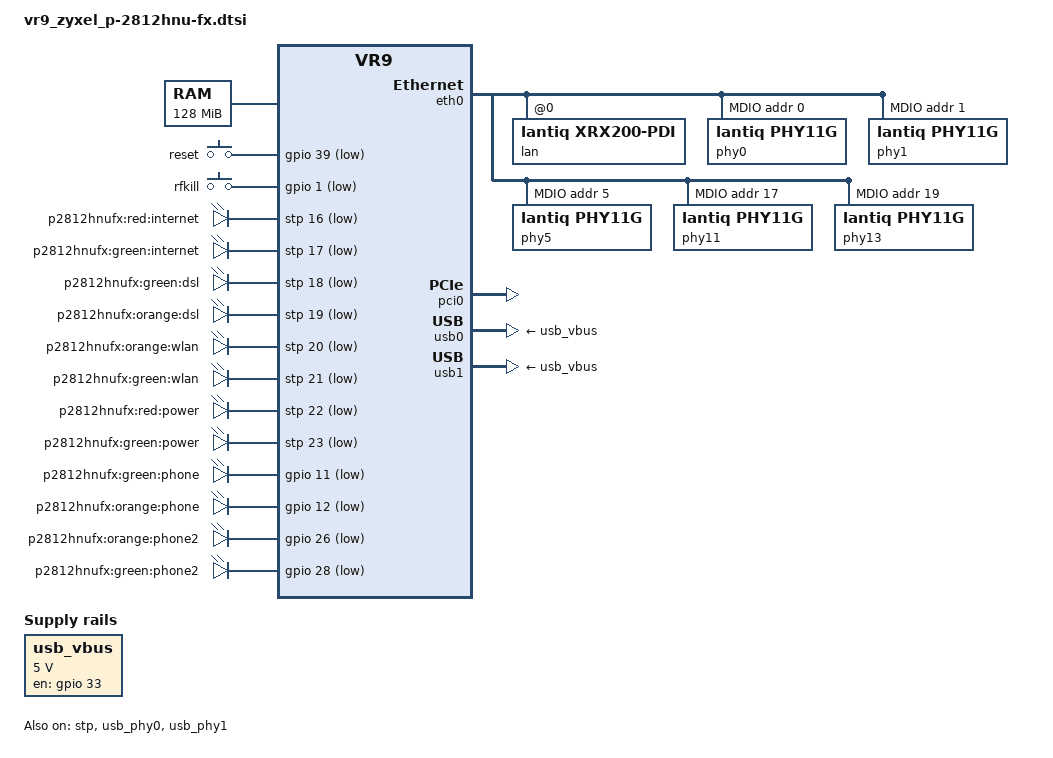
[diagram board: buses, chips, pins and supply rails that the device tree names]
#include "vr9.dtsi"

#include <dt-bindings/input/input.h>
#include <dt-bindings/mips/lantiq_rcu_gphy.h>

/ {
	compatible = "zyxel,p-2812hnu", "lantiq,xway", "lantiq,vr9";

	chosen {
		bootargs = "console=ttyLTQ0,115200";
	};

	aliases {
		led-boot = &power_green;
		led-failsafe = &power_red;
		led-running = &power_green;
		led-upgrade = &power_green;

		led-dsl = &dsl_green;
		led-internet = &internet_green;
		led-wifi = &wireless_green;
	};

	memory@0 {
		device_type = "memory";
		reg = <0x0 0x8000000>;
	};

	keys {
		compatible = "gpio-keys-polled";
		poll-interval = <100>;

		reset {
			label = "reset";
			gpios = <&gpio 39 GPIO_ACTIVE_LOW>;
			linux,code = <KEY_RESTART>;
		};

		rfkill {
			label = "rfkill";
			gpios = <&gpio 1 GPIO_ACTIVE_LOW>;
			linux,code = <KEY_RFKILL>;
		};
	};

	leds {
		compatible = "gpio-leds";

		internet_red {
			label = "p2812hnufx:red:internet";
			gpios = <&stp 16 GPIO_ACTIVE_LOW>;
		};
		internet_green: internet_green {
			label = "p2812hnufx:green:internet";
			gpios = <&stp 17 GPIO_ACTIVE_LOW>;
		};
		dsl_green: dsl_green {
			label = "p2812hnufx:green:dsl";
			gpios = <&stp 18 GPIO_ACTIVE_LOW>;
		};
		dsl_orange {
			label = "p2812hnufx:orange:dsl";
			gpios = <&stp 19 GPIO_ACTIVE_LOW>;
		};
		wireless_orange {
			label = "p2812hnufx:orange:wlan";
			gpios = <&stp 20 GPIO_ACTIVE_LOW>;
		};
		wireless_green: wireless_green {
			label = "p2812hnufx:green:wlan";
			gpios = <&stp 21 GPIO_ACTIVE_LOW>;
		};
		power_red: power {
			label = "p2812hnufx:red:power";
			gpios = <&stp 22 GPIO_ACTIVE_LOW>;
		};
		power_green: power2 {
			label = "p2812hnufx:green:power";
			gpios = <&stp 23 GPIO_ACTIVE_LOW>;
			default-state = "keep";
		};
		phone1 {
			label = "p2812hnufx:green:phone";
			gpios = <&gpio 11 GPIO_ACTIVE_LOW>;
		};
		phone1warn {
			label = "p2812hnufx:orange:phone";
			gpios = <&gpio 12 GPIO_ACTIVE_LOW>;
		};
		phone2warn {
			label = "p2812hnufx:orange:phone2";
			gpios = <&gpio 26 GPIO_ACTIVE_LOW>;
		};
		phone2 {
			label = "p2812hnufx:green:phone2";
			gpios = <&gpio 28 GPIO_ACTIVE_LOW>;
		};
	};

	usb_vbus: regulator-usb-vbus {
		compatible = "regulator-fixed";

		regulator-name = "USB_VBUS";

		regulator-min-microvolt = <5000000>;
		regulator-max-microvolt = <5000000>;

		gpio = <&gpio 33 GPIO_ACTIVE_HIGH>;
		enable-active-high;
	};
};

&eth0 {
	pinctrl-0 = <&mdio_pins>,
		    <&gphy0_led1_pins>, <&gphy0_led2_pins>,
		    <&gphy1_led1_pins>, <&gphy1_led2_pins>;
	pinctrl-names = "default";

	lan: interface@0 {
		compatible = "lantiq,xrx200-pdi";
		#address-cells = <1>;
		#size-cells = <0>;
		reg = <0>;
		mac-address = [ 00 11 22 33 44 55 ];
		lantiq,switch;

		ethernet@0 {
			compatible = "lantiq,xrx200-pdi-port";
			reg = <0>;
			phy-mode = "rgmii";
			phy-handle = <&phy0>;
		};
		ethernet@1 {
			compatible = "lantiq,xrx200-pdi-port";
			reg = <1>;
			phy-mode = "rgmii";
			phy-handle = <&phy1>;
		};
		ethernet@2 {
			compatible = "lantiq,xrx200-pdi-port";
			reg = <2>;
			phy-mode = "gmii";
			phy-handle = <&phy11>;
		};
		ethernet@4 {
			compatible = "lantiq,xrx200-pdi-port";
			reg = <4>;
			phy-mode = "gmii";
			phy-handle = <&phy13>;
		};
		ethernet@5 {
			compatible = "lantiq,xrx200-pdi-port";
			reg = <5>;
			phy-mode = "rgmii";
			phy-handle = <&phy5>;
		};
	};

	mdio {
		#address-cells = <1>;
		#size-cells = <0>;
		compatible = "lantiq,xrx200-mdio";

		phy0: ethernet-phy@0 {
			reg = <0x0>;
			compatible = "lantiq,phy11g", "ethernet-phy-ieee802.3-c22";
		};
		phy1: ethernet-phy@1 {
			reg = <0x1>;
			compatible = "lantiq,phy11g", "ethernet-phy-ieee802.3-c22";
		};
		phy5: ethernet-phy@5 {
			reg = <0x5>;
			compatible = "lantiq,phy11g", "ethernet-phy-ieee802.3-c22";
		};
		phy11: ethernet-phy@11 {
			reg = <0x11>;
			compatible = "lantiq,phy11g", "ethernet-phy-ieee802.3-c22";
		};
		phy13: ethernet-phy@13 {
			reg = <0x13>;
			compatible = "lantiq,phy11g", "ethernet-phy-ieee802.3-c22";
		};
	};
};

&gphy0 {
	lantiq,gphy-mode = <GPHY_MODE_GE>;
};

&gphy1 {
	lantiq,gphy-mode = <GPHY_MODE_GE>;
};

&gpio {
	pinctrl-names = "default";
	pinctrl-0 = <&state_default>;

	state_default: pinmux {
		exin3 {
			lantiq,groups = "exin3";
			lantiq,function = "exin";
		};
		pci_rst {
			lantiq,pins = "io21";
			lantiq,output = <1>;
			lantiq,open-drain = <0>;
			lantiq,pull = <2>;
		};
		pcie-rst {
			lantiq,pins = "io38";
			lantiq,pull = <0>;
			lantiq,output = <1>;
		};
		ifxhcd-rst {
			lantiq,pins = "io33";
			lantiq,pull = <0>;
			lantiq,open-drain = <0>;
			lantiq,output = <1>;
		};
	};
};

&pci0 {
	status = "okay";

	pinctrl-0 = <&pci_gnt1_pins>, <&pci_req1_pins>;
	pinctrl-names = "default";

	gpio-reset = <&gpio 21 GPIO_ACTIVE_HIGH>;
};

&stp {
	status = "okay";

	lantiq,shadow = <0xffffff>;
	lantiq,groups = <0x7>;
	lantiq,dsl = <0x0>;
	lantiq,phy1 = <0x0>;
	lantiq,phy2 = <0x0>;
};

&usb_phy0 {
	status = "okay";
};

&usb_phy1 {
	status = "okay";
};

&usb0 {
	status = "okay";
	vbus-supply = <&usb_vbus>;
};

&usb1 {
	status = "okay";
	vbus-supply = <&usb_vbus>;
};
